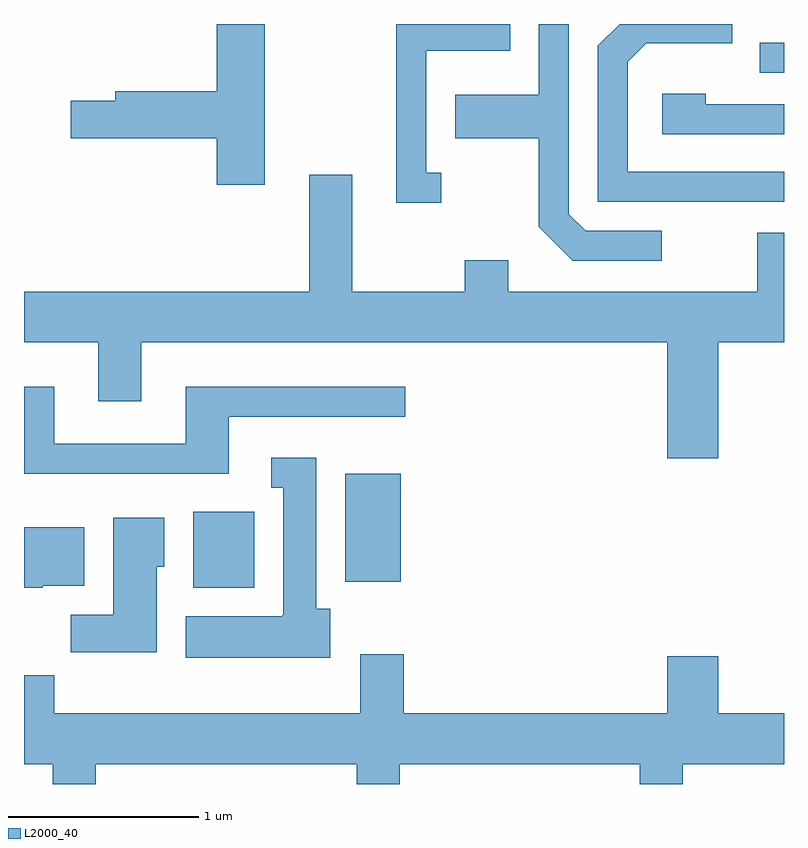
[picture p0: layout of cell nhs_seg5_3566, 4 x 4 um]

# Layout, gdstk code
import gdstk
lib = gdstk.Library(unit=1e-6, precision=1e-09)
def R(c, l, rs):  # rectangles x0, y0, x1, y1
    for r in rs: c.add(gdstk.rectangle(r[:2], r[2:], *l))
def P(c, l, *ps):  # polygons
    for p in ps: c.add(gdstk.Polygon(p, *l))
L2000_40 = (2000, 40)

nhs_seg5_3566 = lib.new_cell('nhs_seg5_3566')
R(nhs_seg5_3566, L2000_40, [(292.501,1411.106,292.824,1411.504), (293.301,1411.136,293.594,1411.704), (295.483,1413.816,295.611,1413.974)])
P(nhs_seg5_3566, L2000_40, [(294.968,1412.984),(294.567,1412.984),(294.479,1413.072),(294.479,1414.072),(294.321,1414.072),(294.321,1413.699),(293.881,1413.699),(293.881,1413.471),(294.321,1413.471),(294.321,1413.004),(294.499,1412.826),(294.968,1412.826)],
  [(295.611,1413.294),(294.789,1413.294),(294.789,1413.874),(294.887,1413.971),(295.339,1413.971),(295.339,1414.072),(294.747,1414.072),(294.631,1413.957),(294.631,1413.136),(295.611,1413.136)],
  [(292.879,1414.072),(292.626,1414.072),(292.626,1413.719),(292.091,1413.719),(292.091,1413.669),(291.856,1413.669),(291.856,1413.471),(292.626,1413.471),(292.626,1413.226),(292.879,1413.226)],
  [(293.808,1413.289),(293.729,1413.289),(293.729,1413.931),(294.169,1413.931),(294.169,1414.072),(293.571,1414.072),(293.571,1413.131),(293.808,1413.131)],
  [(295.611,1413.649),(295.199,1413.649),(295.199,1413.704),(294.971,1413.704),(294.971,1413.491),(295.611,1413.491)],
  [(295.264,1412.396),(295.611,1412.396),(295.611,1412.974),(295.471,1412.974),(295.471,1412.664),(294.159,1412.664),(294.159,1412.829),(293.931,1412.829),(293.931,1412.664),(293.339,1412.664),(293.339,1413.279),(293.111,1413.279),(293.111,1412.664),(291.611,1412.664),(291.611,1412.396),(292.001,1412.396),(292.001,1412.086),(292.229,1412.086),(292.229,1412.396),(294.996,1412.396),(294.996,1411.786),(295.264,1411.786)],
  [(292.689,1412.006),(293.618,1412.006),(293.618,1412.164),(292.461,1412.164),(292.461,1411.864),(291.769,1411.864),(291.769,1412.164),(291.611,1412.164),(291.611,1411.706),(292.689,1411.706)],
  [(293.224,1410.994),(293.149,1410.994),(293.149,1411.789),(292.913,1411.789),(292.913,1411.631),(292.976,1411.631),(292.976,1410.96),(292.97,1410.96),(292.97,1410.954),(292.461,1410.954),(292.461,1410.736),(293.224,1410.736)],
  [(292.309,1411.216),(292.349,1411.216),(292.349,1411.474),(292.081,1411.474),(292.081,1410.964),(291.856,1410.964),(291.856,1410.766),(292.309,1410.766)],
  [(291.71,1411.116),(291.929,1411.116),(291.929,1411.424),(291.611,1411.424),(291.611,1411.106),(291.71,1411.106)],
  [(291.989,1410.176),(293.361,1410.176),(293.361,1410.072),(293.589,1410.072),(293.589,1410.176),(294.851,1410.176),(294.851,1410.072),(295.079,1410.072),(295.079,1410.176),(295.611,1410.176),(295.611,1410.444),(295.264,1410.444),(295.264,1410.744),(294.996,1410.744),(294.996,1410.444),(293.609,1410.444),(293.609,1410.754),(293.381,1410.754),(293.381,1410.444),(291.769,1410.444),(291.769,1410.644),(291.611,1410.644),(291.611,1410.176),(291.761,1410.176),(291.761,1410.072),(291.989,1410.072)])

lib.write_gds('nhs_seg5_3566.gds')
